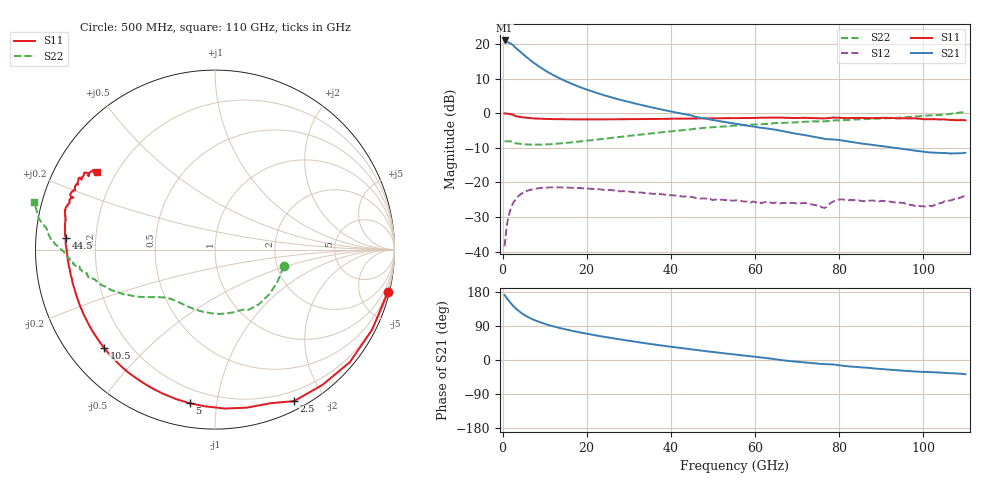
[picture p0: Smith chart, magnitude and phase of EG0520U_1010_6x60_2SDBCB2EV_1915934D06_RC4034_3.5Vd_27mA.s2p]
!File name = EG0520U_1010_6x60_2SDBCB2EV_1915934D06_RC4034_3.5Vd_27mA.s2p
!Base file name = EG0520U_1010_6x60_2SDBCB2EV_1915934D06_RC4034
!Date = 8/23/2019
!Time = 12:58 PM
!Test duration(min) = 0.15
!Test = S-Parameters
!MPTS version = 8.91.5
!State File = C:\Data\PNA\20190821205423\S-Parameters_2019-08-23.sta
!Cal File =
!ComputerName = CMPE-LAB-6
!Comments =
!Attenuation = 0
!Z0 = 50
!Input Power(dBm) = -13.00
!Device ID = EG0520U_1010_6x60_2SDBCB2EV
!Row = 40
!Column = 34
!Technology = QPHT09
!Lot/Wafer = 1915934D06
!Gate Size = 360
!Mask = EG0520
!Cal Standards = GaAs BCB
!Cal Kit = EG2306
!Job Number = 20190821205423
!Device Type = FET
!set_Vg(v) = -1.500
!set_Vd(v) = 3.500
!set_Vd(mA) = 27.000
!file_name = EG0520U_1010_6x60_2SDBCB2EV_1915934D06_RC4034_3.5Vd_27mA.s2p
!Vd(V) = 3.500
!Vd(mA) = 27.166
!Vg(V) = -0.586
!Vg(mA) = -0.005
# GHz  S  DB  R  50
!%	Freq(GHz)  s11(dB)  s11(deg)  s21(dB)  s21(deg)  s12(dB)  s12(deg)  s22(dB)  s22(deg)
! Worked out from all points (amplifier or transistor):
!   220 points, 500 MHz to 110 GHz, reference 50 ohm
!   highest |S21| = 21.0 dB at 500 MHz (marker M1)
!   |S21| within 3 dB of that: start of sweep to 3.97 GHz
!   unconditionally stable (mu >= 1): 34.41 GHz to 102.1 GHz
!   at 18.5 GHz: K = 0.52, MSG = 14.6 dB, |S12| = -21.6 dB
!   at 55.5 GHz: K = 1.49, MAG = 6.9 dB, |S12| = -25.2 dB
!   at 110 GHz: K = -1.79, MSG = 6.2 dB, |S12| = -23.9 dB
!   S11 on the Smith chart (normalised r, x): 500 MHz: 0.28, -8.33; 2.5 GHz: 0.09, -1.64; 5 GHz: 0.12, -0.84; 10.5 GHz: 0.11, -0.37; 44.5 GHz: 0.09, +0.04; 110 GHz: 0.13, +0.29
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0.5  -0.07 -13.7  21.01 171.5  -38.43 81.1  -8.10 -13.8
1  -0.15 -27.1  20.65 163.3  -32.62 74.1  -8.15 -26.6
1.5  -0.19 -39.8  20.34 156.4  -29.43 67.2  -8.13 -38.9
2  -0.33 -51.5  20.08 149.1  -27.38 60.6  -8.17 -51.1
2.5  -0.43 -62.5  19.67 142.9  -25.96 54.9  -8.31 -61.1
3.5  -0.93 -78.7  18.50 132.6  -24.32 46.1  -8.76 -73.0
4.5  -1.16 -93.2  17.44 123.9  -23.26 38.6  -8.90 -86.2
5  -1.23 -99.4  16.91 120.2  -22.89 35.5  -8.96 -91.6
6  -1.38 -110.0  15.90 113.6  -22.37 30.2  -9.05 -100.7
7.5  -1.52 -122.2  14.48 105.7  -21.91 24.1  -9.08 -110.8
9  -1.60 -131.2  13.22 99.3  -21.62 19.5  -9.09 -117.5
10.5  -1.67 -138.5  12.08 93.8  -21.49 15.6  -9.02 -122.9
14  -1.75 -150.6  9.81 83.3  -21.45 9.1  -8.70 -131.0
19  -1.79 -161.2  7.26 71.5  -21.68 3.0  -8.10 -137.5
27  -1.76 -171.5  4.18 56.0  -22.37 -2.4  -6.98 -143.8
37  -1.66 -179.5  1.26 39.4  -23.34 -4.8  -5.63 -150.4
44.5  -1.58 175.7  -0.58 28.3  -24.14 -4.7  -4.72 -155.3
55.5  -1.43 169.3  -3.08 14.4  -25.17 -4.0  -3.58 -162.6
73.5  -1.41 160.3  -6.71 -8.3  -26.41 -6.3  -2.38 -171.8
92  -1.40 151.9  -9.81 -25.6  -25.52 -17.1  -1.43 -179.5
102  -1.74 149.0  -11.39 -32.1  -26.89 -12.3  -0.61 174.5
110  -2.07 146.7  -11.44 -37.6  -23.90 -15.4  0.37 165.4
